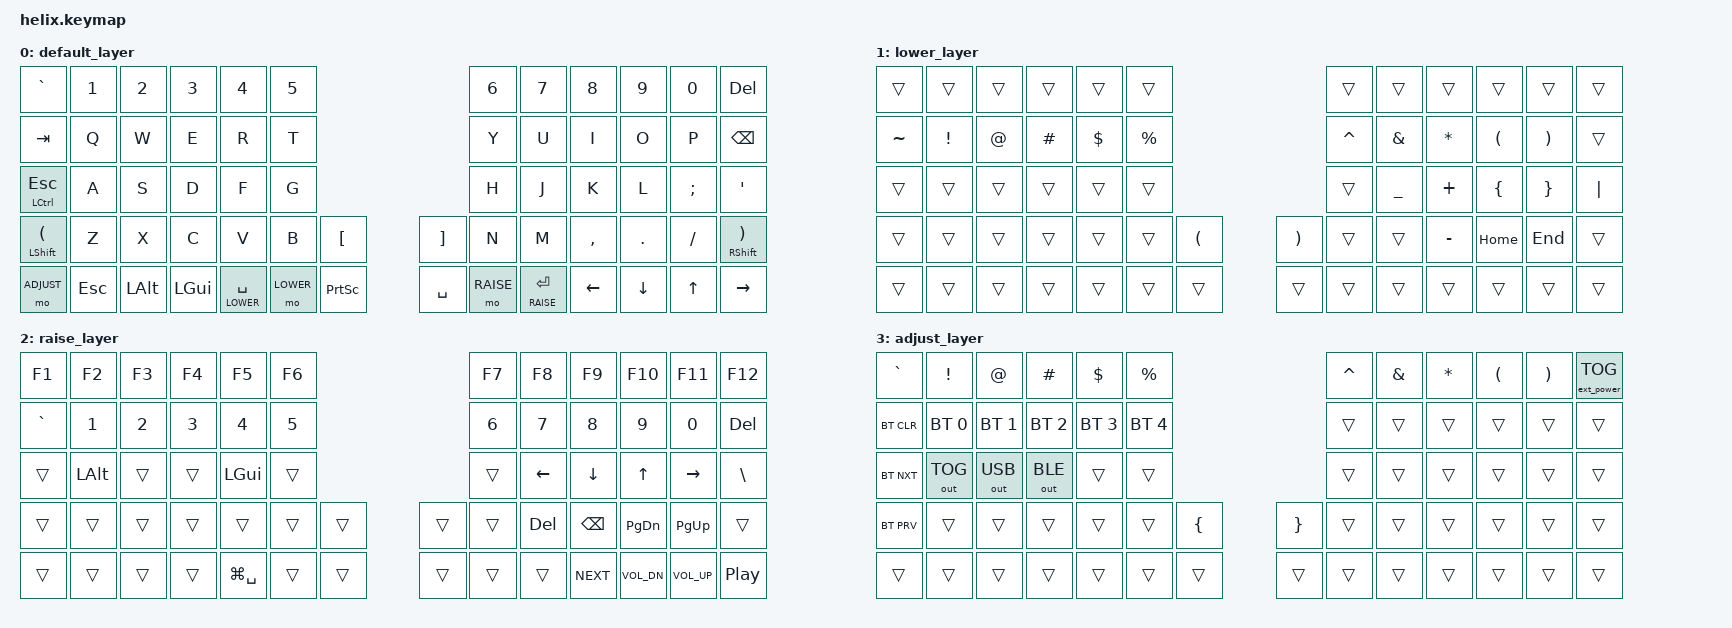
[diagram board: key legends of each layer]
/*
 * Copyright (c) 2020 The ZMK Contributors
 *
 * SPDX-License-Identifier: MIT
 */

 #include <behaviors.dtsi>
 #include <dt-bindings/zmk/keys.h>
 #include <dt-bindings/zmk/bt.h>
 #include <dt-bindings/zmk/rgb.h>
 #include <dt-bindings/zmk/ext_power.h>
 #include <dt-bindings/zmk/outputs.h>

 #define DEFAULT 0
 #define LOWER  1
 #define RAISE  2
 #define ADJUST 3

/* NOTE: At the time of the creation of this keymap, there are no specified codes for 'eisuu' and 'kana' input in ZMK.
However, 'LANG1' and 'LANG2' are fully-functioning candidates for 'kana' and 'eisuu' input respectively.
As such, those are in use within the default layer at this time.*/

/ {
       keymap {
              compatible = "zmk,keymap";

              default_layer {
 // -----------------------------------------------------------------------------------------------------------------------------------------------------------------------------------------------------------------------------
 // |  GRAVE         |   1         |   2         |   3         |   4                |   5         |                                         |   6         |   7         |   8         |   9         |   0         |  DEL        |
 // |  TAB           |   Q         |   W         |   E         |   R                |   T         |                                         |   Y         |   U         |   I         |   O         |   P         |  BSPC       |
 // |  CTRL/ESC      |   A         |   S         |   D         |   F                |   G         |                                         |   H         |   J         |   K         |   L         |   ;         |   '         |
 // |  SHIFT         |   Z         |   X         |   C         |   V                |   B         | LBKT        |             |  RBKT       |   N         |   M         |   ,         |   .         |   /         |  RSHIFT     |
 // |  ADJUST        |  ESC        |  ALT        |  LGUI       | LOWER SPACE        | LOWER       | PSCRN       |             |  SPACE      | RAISE       |  KANA       |  LEFT       |  DOWN       |  UP         |  RIGHT      |
                     bindings = <
       &kp GRAVE      &kp N1       &kp N2        &kp N3        &kp N4                &kp N5                                                 &kp N6        &kp N7        &kp N8        &kp N9        &kp N0        &kp DEL
       &kp TAB        &kp Q        &kp W         &kp E         &kp R                 &kp T                                                  &kp Y         &kp U         &kp I         &kp O         &kp P         &kp BSPC
       &mt LCTRL ESC  &kp A        &kp S         &kp D         &kp F                 &kp G                                                  &kp H         &kp J         &kp K         &kp L         &kp SEMI      &kp SQT
       &mt LSHFT LPAR &kp Z        &kp X         &kp C         &kp V                 &kp B        &kp LBKT                     &kp RBKT     &kp N         &kp M         &kp COMMA     &kp PERIOD    &kp SLASH     &mt RSHIFT RPAR
       &mo ADJUST     &kp ESC      &kp LALT      &kp LGUI      &lt LOWER SPACE       &mo LOWER    &kp PSCRN                    &kp SPACE    &mo RAISE     &lt RAISE RET &kp LEFT      &kp DOWN      &kp UP        &kp RIGHT
                     >;
              };
              lower_layer {
 // -----------------------------------------------------------------------------------------------------------------------------------------------------------------------------------------------------------------------------
 // |                |             |             |             |                    |             |                                         |             |             |             |             |             |             |
 // |  ~             |  !          |  @          |  #          |  $                 |  %          |                                         |  ^          |  &          |  *          |  (          |  )          |             |
 // |                |             |             |             |                    |             |                                         |             |  _          |  +          |  {          |  }          | PIPE        |
 // |                |             |             |             |                    |             |  (          |             |  )          |             |             |  -           | HOME        | END         |             |
 // |                |             |             |             |                    |             |             |             |             |             |             |             |             |             |             |
                     bindings = <
       &trans        &trans        &trans        &trans        &trans               &trans                                                  &trans        &trans        &trans        &trans        &trans        &trans
       &kp TILDE     &kp EXCL      &kp AT        &kp HASH      &kp DLLR             &kp PRCNT                                               &kp CARET     &kp AMPS      &kp ASTRK     &kp LPAR      &kp RPAR      &trans
       &trans        &trans        &trans        &trans        &trans               &trans                                                  &trans        &kp UNDER     &kp PLUS      &kp LBRC      &kp RBRC      &kp PIPE
       &trans        &trans        &trans        &trans        &trans               &trans        &kp LPAR                    &kp RPAR      &trans        &trans        &kp MINUS     &kp HOME      &kp END       &trans
       &trans        &trans        &trans        &trans        &trans               &trans        &trans                      &trans        &trans        &trans        &trans        &trans        &trans        &trans
                     >;
              };
              raise_layer {
 // -----------------------------------------------------------------------------------------------------------------------------------------------------------------------------------------------------------------------------
 // | F1             |  F2         | F3          | F4          | F5                 | F6          |                                         | F7          | F8          | F9          | F10         | F11         | F12         |
 // |   `            |   1         |   2         |   3         |   4                |   5         |                                         |   6         |   7         |   8         |   9         |   0         |  DEL        |
 // |                |  LALT       |             |             |  LGUI              |             |                                         |             |   -         |   =         |   [         |   ]         |   \         |
 // |                |             |             |             |                    |             |             |             |             |             | DEL         | BSPC        | PG_DN       | PG_UP       |             |
 // |                |             |             |             |  LGUI+SPACE        |             |             |             |             |             |             | NEXT        | VOL-        | VOL+        | PLAY        |
                     bindings = <
       &kp F1        &kp F2        &kp F3        &kp F4        &kp F5               &kp F6                                                  &kp F7        &kp F8        &kp F9        &kp F10       &kp F11       &kp F12
       &kp GRAVE     &kp N1        &kp N2        &kp N3        &kp N4               &kp N5                                                  &kp N6        &kp N7        &kp N8        &kp N9        &kp N0        &kp DEL
       &trans        &kp LALT      &trans        &trans        &kp LGUI             &trans                                                  &trans        &kp LEFT      &kp DOWN      &kp UP        &kp RIGHT     &kp BSLH
       &trans        &trans        &trans        &trans        &trans               &trans        &trans                      &trans        &trans        &kp DEL       &kp BSPC      &kp PG_DN     &kp PG_UP     &trans
       &trans        &trans        &trans        &trans        &kp LG(SPACE)        &trans        &trans                      &trans        &trans        &trans        &kp C_NEXT    &kp C_VOL_DN  &kp C_VOL_UP  &kp C_PP
                     >;
              };
              adjust_layer {
 // -----------------------------------------------------------------------------------------------------------------------------------------------------------------------------------------------------------------------------
 // |    `           |    !        |    @        |    #        |    $               |    %        |                                         |    ^        |    &        |    *        |    (        |    )        |  EP TOG     |
 // |  BT CLR        | BT SEL0     | BT SEL1     | BT SEL2     | BGT SEL3           | BT SEL4     |                                         |             |             |             |             |             |             |
 // |  BT NXT        | OUT TOG     | OUT USB     |  OUT BLE    |                    |             |                                         |             |             |             |             |             |             |
 // |  BT PRV        |             |             |             |                    |             |    {        |             |    }        |             |             |             |             |             |             |
 // |                |             |             |             |                    |             |             |             |             |             |             |             |             |             |             |
                     bindings = <
       &kp GRAVE     &kp EXCL      &kp AT        &kp HASH      &kp DLLR             &kp PRCNT                                               &kp CARET     &kp AMPS      &kp ASTRK     &kp LPAR      &kp RPAR      &ext_power EP_TOG
       &bt BT_CLR    &bt BT_SEL 0  &bt BT_SEL 1  &bt BT_SEL 2  &bt BT_SEL 3         &bt BT_SEL 4                                            &trans        &trans        &trans        &trans        &trans        &trans 
       &bt BT_NXT    &out OUT_TOG  &out OUT_USB  &out OUT_BLE  &trans               &trans                                                  &trans        &trans        &trans        &trans        &trans        &trans
       &bt BT_PRV    &trans        &trans        &trans        &trans               &trans       &kp LBRC                     &kp RBRC      &trans        &trans        &trans        &trans        &trans        &trans
       &trans        &trans        &trans        &trans        &trans               &trans       &trans                       &trans        &trans        &trans        &trans        &trans        &trans        &trans
                     >;     
              };
       };
};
